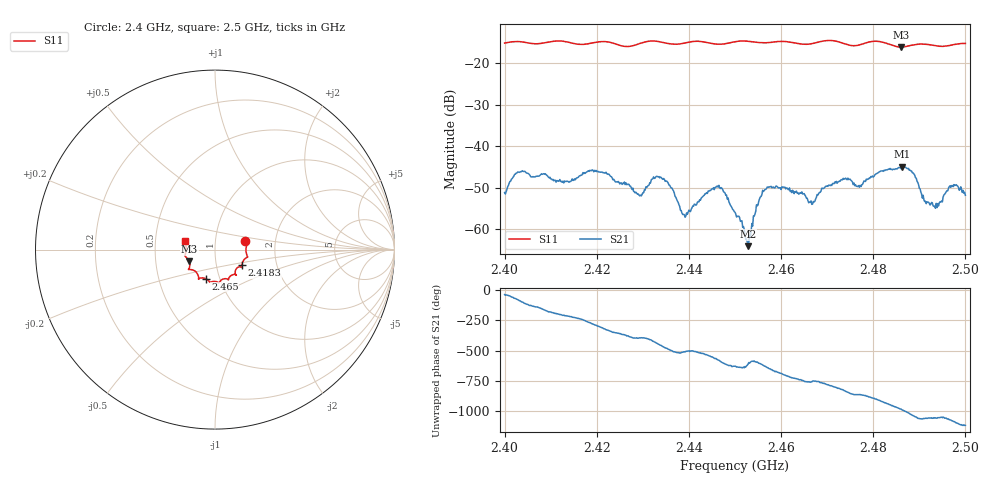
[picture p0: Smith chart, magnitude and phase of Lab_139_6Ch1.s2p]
# Hz S RI R 50
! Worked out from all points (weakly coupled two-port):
!   601 points, 2.4 GHz to 2.5 GHz, reference 50 ohm
!   highest |S21| = -44.93 dB at 2.4863 GHz (marker M1); lowest = -64.1 dB at 2.4528 GHz (marker M2)
!   lowest |S11| = -16.1 dB at 2.486 GHz (marker M3), VSWR 1.37, Z = 37.2 - j4.98 ohm
!   |S11| at or under -10 dB: start of sweep to end of sweep
!   S12 and S22 are empty: the file has one direction only
!   S11 on the Smith chart (normalised r, x): 2.4 GHz: 1.40, +0.13; 2.4183 GHz: 1.33, -0.24; 2.465 GHz: 0.86, -0.29; 2.5 GHz: 0.71, +0.07
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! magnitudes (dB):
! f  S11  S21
! 2.4 GHz  -15.1  -51.2
! 2.4033 GHz  -14.8  -46.2
! 2.4167 GHz  -15.4  -47.0
! 2.4183 GHz  -15.2  -46.0
! 2.4293 GHz  -15.2  -51.9
! 2.4333 GHz  -14.7  -47.4
! 2.436 GHz  -15.3  -49.8
! 2.4388 GHz  -15.2  -56.4
! 2.4462 GHz  -15.4  -49.6
! 2.45 GHz  -14.8  -55.9
! 2.4528 GHz  -14.7  -64.1
! 2.4565 GHz  -15.0  -50.4
! 2.465 GHz  -15.4  -51.4
! 2.4667 GHz  -15.3  -54.0
! 2.4735 GHz  -15.2  -47.7
! 2.4768 GHz  -15.6  -49.5
! 2.4833 GHz  -15.3  -45.5
! 2.486 GHz  -16.1  -45.4
! 2.4863 GHz  -16.1  -44.9
! 2.493 GHz  -15.6  -54.4
! 2.497 GHz  -15.6  -49.5
! 2.5 GHz  -15.2  -51.8
